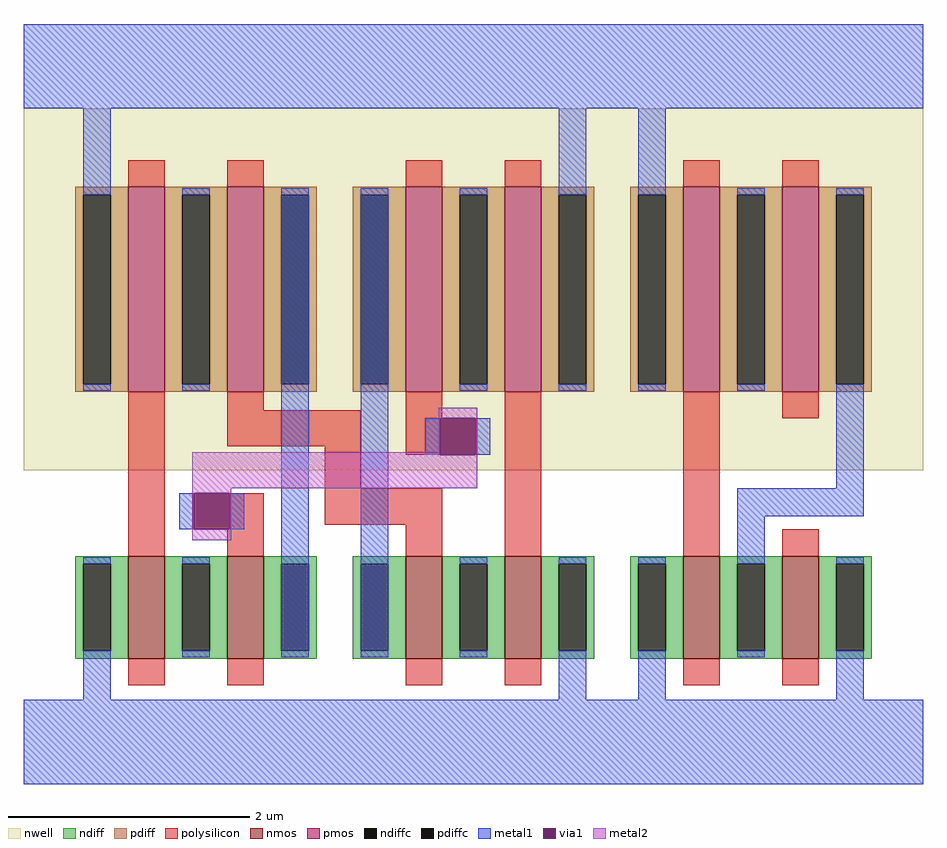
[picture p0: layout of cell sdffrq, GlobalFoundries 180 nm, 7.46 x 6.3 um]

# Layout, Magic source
magic
tech gf180mcuD
magscale 1 10
<< polysilicon >>
rect 454 -742 514 -470
rect 618 -500 678 -470
rect 618 -560 839 -500
rect 779 -630 839 -560
rect 914 -574 1030 -514
rect 562 -698 678 -638
rect 779 -690 974 -630
rect 914 -741 974 -690
rect 1078 -742 1138 -470
rect 1374 -742 1434 -470
<< metal1 >>
rect 280 0 1772 140
rect 379 -143 425 0
rect 538 -698 562 -638
rect 622 -698 646 -638
rect 379 -980 425 -899
rect 707 -910 753 -132
rect 839 -910 885 -132
rect 1167 -143 1213 0
rect 1299 -143 1345 0
rect 946 -574 970 -514
rect 1030 -574 1054 -514
rect 1627 -630 1673 -457
rect 1463 -676 1673 -630
rect 1463 -755 1509 -676
rect 1167 -980 1213 -899
rect 1299 -980 1345 -899
rect 1627 -980 1673 -899
rect 280 -1120 1772 -980
<< via1 >>
rect 562 -698 622 -638
rect 970 -574 1030 -514
<< metal2 >>
rect 968 -514 1032 -496
rect 968 -570 970 -514
rect 560 -574 970 -570
rect 1030 -574 1032 -514
rect 560 -630 1032 -574
rect 560 -638 624 -630
rect 560 -698 562 -638
rect 622 -698 624 -638
rect 560 -716 624 -698
use nfet_03v3_C8ZVHP  nfet_03v3_C8ZVHP_0
transform 1 0 566 0 1 -827
box -224 -153 224 153
use nfet_03v3_C8ZVHP  nfet_03v3_C8ZVHP_1
transform 1 0 1026 0 1 -827
box -224 -153 224 153
use nfet_03v3_C8ZVHP  nfet_03v3_C8ZVHP_2
transform 1 0 1486 0 1 -827
box -224 -153 224 153
use pfet_03v3_XSR2S3  pfet_03v3_XSR2S3_0
transform -1 0 1486 0 1 -300
box -286 -300 286 300
use pfet_03v3_XSR2S3  pfet_03v3_XSR2S3_1
transform -1 0 1026 0 1 -300
box -286 -300 286 300
use pfet_03v3_XSR2S3  pfet_03v3_XSR2S3_2
transform -1 0 566 0 1 -300
box -286 -300 286 300
<< end >>

# cell nfet_03v3_C8ZVHP: kit device nfet_03v3, w 0.85 l 0.3 m 1 nf 2 diffcov 100 polycov 100 guard 0 glc 0 grc 0 gtc 0 gbc 0 tbcov 100 rlcov 100 topc 0 botc 0 poverlap 0 doverlap 1 lmin 0.28 wmin 0.22 class mosfet full_metal 0 compatible {nfet_03v3 nfet_06v0 nfet_06v0_nvt}

# cell pfet_03v3_XSR2S3: kit device pfet_03v3, w 1.7 l 0.3 m 1 nf 2 diffcov 100 polycov 100 guard 0 glc 0 grc 0 gtc 0 gbc 0 tbcov 100 rlcov 100 topc 0 botc 0 poverlap 0 doverlap 1 lmin 0.28 wmin 0.22 class mosfet full_metal 0 compatible {pfet_03v3 pfet_06v0}
